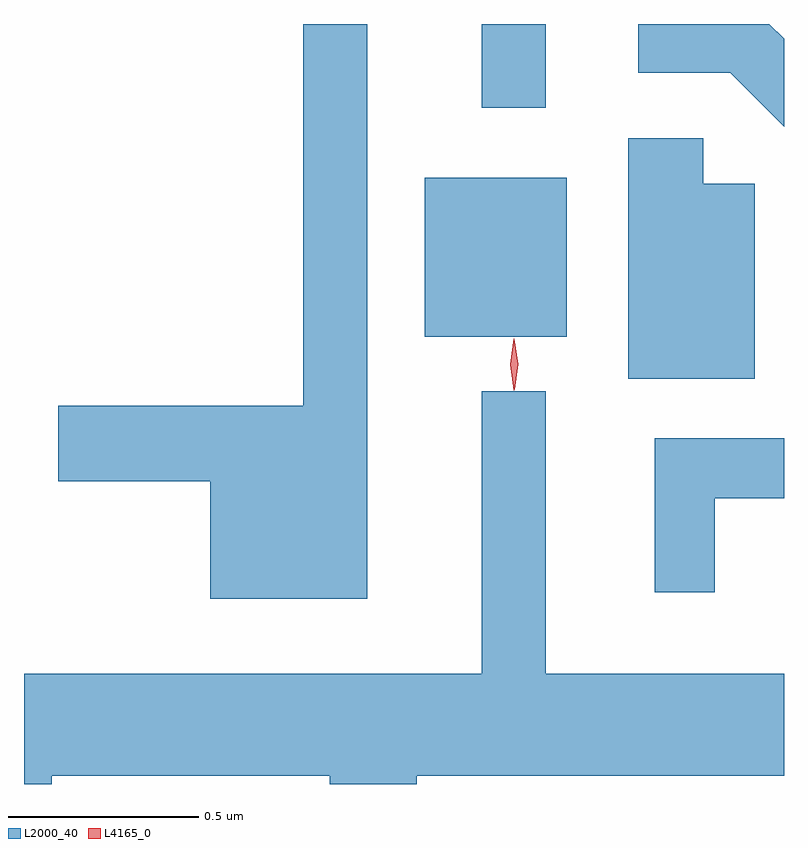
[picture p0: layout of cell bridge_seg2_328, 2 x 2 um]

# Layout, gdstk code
import gdstk
lib = gdstk.Library(unit=1e-6, precision=1e-09)
def R(c, l, rs):  # rectangles x0, y0, x1, y1
    for r in rs: c.add(gdstk.rectangle(r[:2], r[2:], *l))
def P(c, l, *ps):  # polygons
    for p in ps: c.add(gdstk.Polygon(p, *l))
L2000_40 = (2000, 40)
L4165_0 = (4165, 0)

bridge_seg2_328 = lib.new_cell('bridge_seg2_328')
R(bridge_seg2_328, L2000_40, [(453.401,1071.671,453.774,1072.089), (453.551,1072.273,453.719,1072.494)])
P(bridge_seg2_328, L2000_40, [(454.346,1072.455),(454.307,1072.494),(453.963,1072.494),(453.963,1072.366),(454.204,1072.366),(454.346,1072.224)],
  [(453.249,1072.494),(453.081,1072.494),(453.081,1071.489),(452.436,1071.489),(452.436,1071.291),(452.836,1071.291),(452.836,1070.981),(453.249,1070.981)],
  [(454.269,1072.074),(454.134,1072.074),(454.134,1072.194),(453.936,1072.194),(453.936,1071.561),(454.269,1071.561)],
  [(452.419,1070.516),(453.151,1070.516),(453.151,1070.494),(453.379,1070.494),(453.379,1070.516),(454.346,1070.516),(454.346,1070.784),(453.719,1070.784),(453.719,1071.528),(453.551,1071.528),(453.551,1070.784),(452.346,1070.784),(452.346,1070.494),(452.419,1070.494)],
  [(454.164,1071.246),(454.346,1071.246),(454.346,1071.404),(454.006,1071.404),(454.006,1070.998),(454.164,1070.998)])
P(bridge_seg2_328, L4165_0, [(453.635,1071.53),(453.625,1071.598),(453.635,1071.666),(453.636,1071.666),(453.636,1071.666),(453.646,1071.598),(453.636,1071.53),(453.636,1071.53)],
  [(453.636,1071.533),(453.636,1071.533),(453.626,1071.597),(453.636,1071.661),(453.636,1071.662),(453.636,1071.661),(453.646,1071.598),(453.637,1071.533)])

lib.write_gds('bridge_seg2_328.gds')
